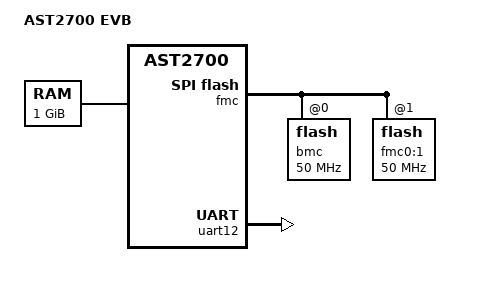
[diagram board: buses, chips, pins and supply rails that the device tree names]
// SPDX-License-Identifier: GPL-2.0-only OR MIT
/*
 * Device Tree Source AST2700 EVB
 *
 * Copyright (C) 2026 ASPEED Technology Inc.
 */

/dts-v1/;
#include "aspeed-g7-a35.dtsi"

/ {
	model = "AST2700 EVB";
	compatible = "aspeed,ast2700-evb", "aspeed,ast2700";

	aliases {
		serial0 = &uart12;	/* console port */
	};

	chosen {
		stdout-path = "serial0:115200n8";
	};

	memory@400000000 {
		device_type = "memory";
		reg = <0x4 0x00000000 0x0 0x40000000>;
	};
};

&fmc {
	status = "okay";
	pinctrl-0 = <&pinctrl_fwspi_quad_default>;
	pinctrl-names = "default";

	flash@0 {
		status = "okay";
		m25p,fast-read;
		label = "bmc";
		spi-max-frequency = <50000000>;
		spi-tx-bus-width = <4>;
		spi-rx-bus-width = <4>;
#include "aspeed-evb-flash-layout-128.dtsi"
	};

	flash@1 {
		status = "okay";
		m25p,fast-read;
		label = "fmc0:1";
		spi-max-frequency = <50000000>;
		spi-tx-bus-width = <4>;
		spi-rx-bus-width = <4>;
	};

	flash@2 {
		status = "disabled";
		m25p,fast-read;
		label = "fmc0:2";
		spi-max-frequency = <50000000>;
		spi-tx-bus-width = <4>;
		spi-rx-bus-width = <4>;
	};
};

&uart12 {
	status = "okay";
};
